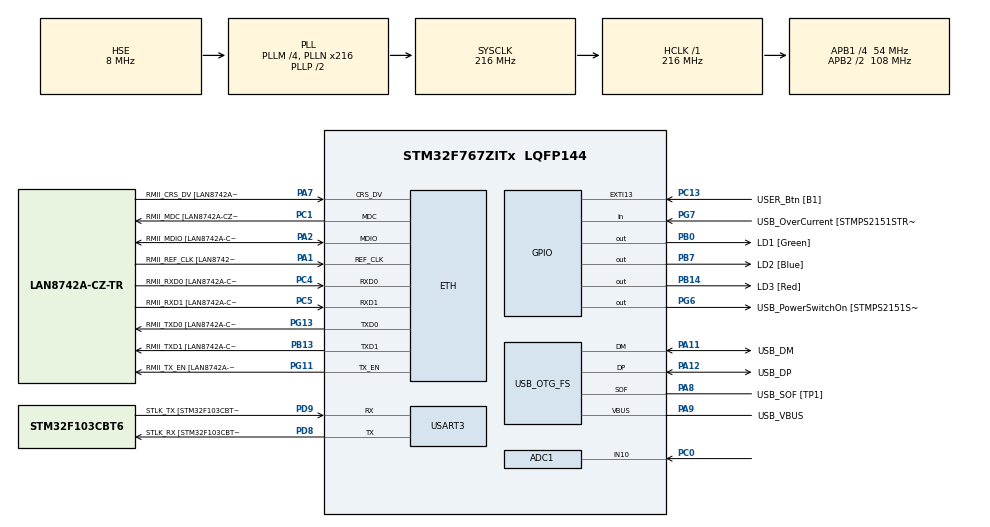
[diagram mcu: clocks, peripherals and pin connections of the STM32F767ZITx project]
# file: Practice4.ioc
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ADC1.Channel-0\#ChannelRegularConversion=ADC_CHANNEL_10
ADC1.ContinuousConvMode=ENABLE
ADC1.EOCSelection=ADC_EOC_SEQ_CONV
ADC1.NbrOfConversionFlag=1
ADC1.Rank-0\#ChannelRegularConversion=1
ADC1.SamplingTime-0\#ChannelRegularConversion=ADC_SAMPLETIME_3CYCLES
ADC1.ScanConvMode=ADC_SCAN_DISABLE
ADC1.master=1
ETH.MediaInterface=HAL_ETH_RMII_MODE
ETH.PHY_Name=LAN8742A_PHY_ADDRESS
ETH.PHY_Value=0
ETH.PhyAddress=0
Mcu.Family=STM32F7
Mcu.Name=STM32F767ZITx
Mcu.Package=LQFP144
NVIC.PriorityGroup=NVIC_PRIORITYGROUP_4
PA1.GPIO_Label=RMII_REF_CLK [LAN8742A-CZ-TR_REFCLK0]
PA1.Mode=RMII
PA1.Signal=ETH_REF_CLK
PA10.GPIO_Label=USB_ID
PA10.Signal=USB_OTG_FS_ID
PA11.GPIO_Label=USB_DM
PA11.Mode=Device_Only
PA11.Signal=USB_OTG_FS_DM
PA12.GPIO_Label=USB_DP
PA12.Mode=Device_Only
PA12.Signal=USB_OTG_FS_DP
PA13.GPIO_Label=TMS
PA13.Mode=Serial_Wire
PA13.Signal=SYS_JTMS-SWDIO
PA14.GPIO_Label=TCK
PA14.Mode=Serial_Wire
PA14.Signal=SYS_JTCK-SWCLK
PA2.GPIO_Label=RMII_MDIO [LAN8742A-CZ-TR_MDIO]
PA2.Mode=RMII
PA2.Signal=ETH_MDIO
PA7.GPIO_Label=RMII_CRS_DV [LAN8742A-CZ-TR_CRS_DV]
PA7.Mode=RMII
PA7.Signal=ETH_CRS_DV
PA8.GPIO_Label=USB_SOF [TP1]
PA8.Mode=Activate_SOF_FS
PA8.Signal=USB_OTG_FS_SOF
PA9.GPIO_Label=USB_VBUS
PA9.Mode=Activate_VBUS
PA9.Signal=USB_OTG_FS_VBUS
PB0.GPIO_Label=LD1 [Green]
PB0.Signal=GPIO_Output
PB13.GPIO_Label=RMII_TXD1 [LAN8742A-CZ-TR_TXD1]
PB13.Mode=RMII
PB13.Signal=ETH_TXD1
PB14.GPIO_Label=LD3 [Red]
PB14.Signal=GPIO_Output
PB3.GPIO_Label=SWO
PB3.Signal=SYS_JTDO-SWO
PB7.GPIO_Label=LD2 [Blue]
PB7.Signal=GPIO_Output
PC0.Signal=ADCx_IN10
PC1.GPIO_Label=RMII_MDC [LAN8742A-CZ-TR_MDC]
PC1.Mode=RMII
PC1.Signal=ETH_MDC
PC13.GPIO_Label=USER_Btn [B1]
PC13.Signal=GPXTI13
PC14/OSC32_IN.Mode=LSE-External-Oscillator
PC14/OSC32_IN.Signal=RCC_OSC32_IN
PC15/OSC32_OUT.Mode=LSE-External-Oscillator
PC15/OSC32_OUT.Signal=RCC_OSC32_OUT
PC4.GPIO_Label=RMII_RXD0 [LAN8742A-CZ-TR_RXD0]
PC4.Mode=RMII
PC4.Signal=ETH_RXD0
PC5.GPIO_Label=RMII_RXD1 [LAN8742A-CZ-TR_RXD1]
PC5.Mode=RMII
PC5.Signal=ETH_RXD1
PD8.GPIO_Label=STLK_RX [STM32F103CBT6_PA3]
PD8.Mode=Asynchronous
PD8.Signal=USART3_TX
PD9.GPIO_Label=STLK_TX [STM32F103CBT6_PA2]
PD9.Mode=Asynchronous
PD9.Signal=USART3_RX
PG11.GPIO_Label=RMII_TX_EN [LAN8742A-CZ-TR_TXEN]
PG11.Mode=RMII
PG11.Signal=ETH_TX_EN
PG13.GPIO_Label=RMII_TXD0 [LAN8742A-CZ-TR_TXD0]
PG13.Mode=RMII
PG13.Signal=ETH_TXD0
PG6.GPIO_Label=USB_PowerSwitchOn [STMPS2151STR_EN]
PG6.Signal=GPIO_Output
PG7.GPIO_Label=USB_OverCurrent [STMPS2151STR_FAULT]
PG7.Signal=GPIO_Input
PH0/OSC_IN.GPIO_Label=MCO [STM32F103CBT6_PA8]
PH0/OSC_IN.Mode=HSE-External-Clock-Source
PH0/OSC_IN.Signal=RCC_OSC_IN
PH1/OSC_OUT.Mode=HSE-External-Clock-Source
PH1/OSC_OUT.Signal=RCC_OSC_OUT
ProjectManager.HeapSize=0x200
ProjectManager.StackSize=0x400
ProjectManager.TargetToolchain=STM32CubeIDE
RCC.48MHZClocksFreq_Value=24000000
RCC.AHBFreq_Value=216000000
RCC.APB1CLKDivider=RCC_HCLK_DIV4
RCC.APB1Freq_Value=54000000
RCC.APB1TimFreq_Value=108000000
RCC.APB2CLKDivider=RCC_HCLK_DIV2
RCC.APB2Freq_Value=108000000
RCC.APB2TimFreq_Value=216000000
RCC.CortexFreq_Value=216000000
RCC.HCLKFreq_Value=216000000
RCC.HSE_VALUE=8000000
RCC.HSI_VALUE=16000000
RCC.PLLM=4
RCC.PLLMUL=RCC_PLL_MUL9
RCC.PLLN=216
RCC.PLLQ=9
RCC.PRESCALERUSB=RCC_USBCLKSOURCE_PLL_DIV1_5
RCC.SYSCLKFreq_VALUE=216000000
RCC.SYSCLKSource=RCC_SYSCLKSOURCE_PLLCLK
RCC.SYSCLKSourceVirtual=RCC_SYSCLKSOURCE_PLLCLK
RCC.USBFreq_Value=48000000
RCC.VCOOutputFreq_Value=432000000
SH.ADCx_IN10.0=ADC1_IN10,IN10
USART3.VirtualMode-Asynchronous=VM_ASYNC
USB_OTG_FS.VirtualMode=Device_Only
board=NUCLEO-F767ZI

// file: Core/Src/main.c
/* USER CODE BEGIN Header */
/**
  ******************************************************************************
  * @file           : main.c
  * @brief          : Main program body
  ******************************************************************************
  * @attention
  *
  * Copyright (c) 2025 STMicroelectronics.
  * All rights reserved.
  *
  * This software is licensed under terms that can be found in the LICENSE file
  * in the root directory of this software component.
  * If no LICENSE file comes with this software, it is provided AS-IS.
  *
  ******************************************************************************
  */
/* USER CODE END Header */
#include "main.h"
#include "adc.h"
#include "eth.h"
#include "usart.h"
#include "usb_otg.h"
#include "gpio.h"

void SystemClock_Config(void);

/* USER CODE BEGIN 0 */
float getVin(uint32_t adc_value)
{
	float Vref = 3.3f;
	uint32_t resolution = 4095;
	float Vin = ((float)adc_value / resolution) * Vref;
	return Vin;
}
/* USER CODE END 0 */

int main(void)
{

  /* MCU Configuration--------------------------------------------------------*/

  /* Reset of all peripherals, Initializes the Flash interface and the Systick. */
  HAL_Init();

  /* Configure the system clock */
  SystemClock_Config();

  /* Initialize all configured peripherals */
  MX_GPIO_Init();
  MX_ETH_Init();
  MX_USART3_UART_Init();
  MX_USB_OTG_FS_PCD_Init();
  MX_ADC1_Init();
  /* USER CODE BEGIN 2 */

  volatile uint32_t adc_val = 0;
  HAL_ADC_Start(&hadc1);

  /* USER CODE END 2 */

  /* Infinite loop */
  while (1)
  {

    /* USER CODE BEGIN 3 */
	  while( HAL_ADC_PollForConversion(&hadc1, 100) != HAL_OK){HAL_UART_Transmit(&huart3, "k\r\n" , 3, 100);}
	  adc_val = HAL_ADC_GetValue(&hadc1);

	  float Vin;
	  Vin = getVin(adc_val);

	  char buf[100];
	  sprintf(buf, "%.2f" , Vin);

	  HAL_UART_Transmit(&huart3, (uint8_t *)buf, strlen(buf), 100);
	  HAL_UART_Transmit(&huart3, "\r\n" , 2, 100);

	  if (Vin > 2.475)
	  {
		  //part1
	  }
	  else if(Vin > 1.65)
	  {
		  //part2
	  }
	  else if(Vin > 0.825)
	  {
		  //part3
	  }
	  else
	  {
		  //part4
	  }

	  HAL_Delay(10);
  }
  /* USER CODE END 3 */
}

void SystemClock_Config(void)
{
  RCC_OscInitTypeDef RCC_OscInitStruct = {0};
  RCC_ClkInitTypeDef RCC_ClkInitStruct = {0};

  /** Configure LSE Drive Capability
  */
  HAL_PWR_EnableBkUpAccess();

  /** Configure the main internal regulator output voltage
  */
  __HAL_RCC_PWR_CLK_ENABLE();
  __HAL_PWR_VOLTAGESCALING_CONFIG(PWR_REGULATOR_VOLTAGE_SCALE1);

  /** Initializes the RCC Oscillators according to the specified parameters
  * in the RCC_OscInitTypeDef structure.
  */
  RCC_OscInitStruct.OscillatorType = RCC_OSCILLATORTYPE_HSE;
  RCC_OscInitStruct.HSEState = RCC_HSE_BYPASS;
  RCC_OscInitStruct.PLL.PLLState = RCC_PLL_ON;
  RCC_OscInitStruct.PLL.PLLSource = RCC_PLLSOURCE_HSE;
  RCC_OscInitStruct.PLL.PLLM = 4;
  RCC_OscInitStruct.PLL.PLLN = 216;
  RCC_OscInitStruct.PLL.PLLP = RCC_PLLP_DIV2;
  RCC_OscInitStruct.PLL.PLLQ = 9;
  RCC_OscInitStruct.PLL.PLLR = 2;
  if (HAL_RCC_OscConfig(&RCC_OscInitStruct) != HAL_OK)
  {
    Error_Handler();
  }

  /** Activate the Over-Drive mode
  */
  if (HAL_PWREx_EnableOverDrive() != HAL_OK)
  {
    Error_Handler();
  }

  /** Initializes the CPU, AHB and APB buses clocks
  */
  RCC_ClkInitStruct.ClockType = RCC_CLOCKTYPE_HCLK|RCC_CLOCKTYPE_SYSCLK
                              |RCC_CLOCKTYPE_PCLK1|RCC_CLOCKTYPE_PCLK2;
  RCC_ClkInitStruct.SYSCLKSource = RCC_SYSCLKSOURCE_PLLCLK;
  RCC_ClkInitStruct.AHBCLKDivider = RCC_SYSCLK_DIV1;
  RCC_ClkInitStruct.APB1CLKDivider = RCC_HCLK_DIV4;
  RCC_ClkInitStruct.APB2CLKDivider = RCC_HCLK_DIV2;

  if (HAL_RCC_ClockConfig(&RCC_ClkInitStruct, FLASH_LATENCY_7) != HAL_OK)
  {
    Error_Handler();
  }
}

void Error_Handler(void)
{
  __disable_irq();
  while (1)
  {
  }
}
